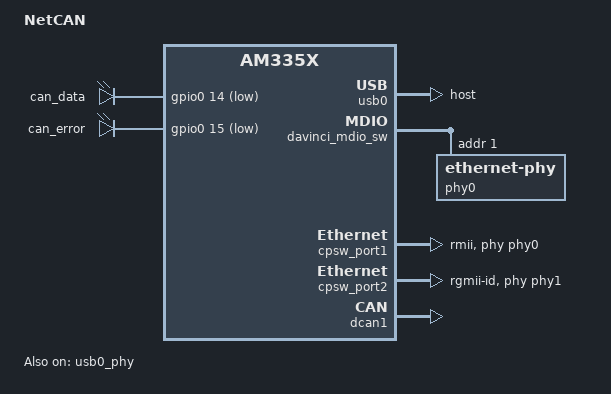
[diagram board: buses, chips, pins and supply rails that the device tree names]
// SPDX-License-Identifier: GPL-2.0-only
/*
 * Copyright (C) 2012 Texas Instruments Incorporated - https://www.ti.com/
 */

/*
 * VScom OnRISC
 * http://www.vscom.de
 */

/dts-v1/;

#include "am335x-baltos.dtsi"
#include "am335x-baltos-leds.dtsi"

/ {
	model = "NetCAN";

	leds {
		pinctrl-names = "default";
		pinctrl-0 = <&user_leds_s0>;

		compatible = "gpio-leds";

		led@1 {
			label = "can_data";
			linux,default-trigger = "netdev";
			gpios = <&gpio0 14 GPIO_ACTIVE_LOW>;
			default-state = "off";
		};
		led@2 {
			label = "can_error";
			gpios = <&gpio0 15 GPIO_ACTIVE_LOW>;
			default-state = "off";
		};
	};
};

&am33xx_pinmux {
	user_leds_s0: user_leds_s0 {
		pinctrl-single,pins = <
			AM33XX_PADCONF(AM335X_PIN_UART1_RXD, PIN_OUTPUT_PULLDOWN, MUX_MODE7)	/* CAN Data LED */
			AM33XX_PADCONF(AM335X_PIN_UART1_TXD, PIN_OUTPUT_PULLDOWN, MUX_MODE7)	/* CAN Error LED */
		>;
	};

	dcan1_pins: pinmux_dcan1_pins {
		pinctrl-single,pins = <
			AM33XX_PADCONF(AM335X_PIN_UART0_CTSN, PIN_OUTPUT, MUX_MODE2)	/* CAN TX */
			AM33XX_PADCONF(AM335X_PIN_UART0_RTSN, PIN_INPUT, MUX_MODE2)	/* CAN RX */
		>;
	};
};

&usb0_phy {
	status = "okay";
};

&usb0 {
	status = "okay";
	dr_mode = "host";
};

&davinci_mdio_sw {
	phy0: ethernet-phy@0 {
		reg = <1>;
	};
};

&cpsw_port1 {
	phy-mode = "rmii";
	ti,dual-emac-pvid = <1>;
	phy-handle = <&phy0>;
};

&cpsw_port2 {
	phy-mode = "rgmii-id";
	ti,dual-emac-pvid = <2>;
	phy-handle = <&phy1>;
};

&dcan1 {
	pinctrl-names = "default";
	pinctrl-0 = <&dcan1_pins>;

	status = "okay";
};

&gpio0 {
	gpio-line-names =
		"MDIO",
		"MDC",
		"NC",
		"NC",
		"I2C1_SDA",
		"I2C1_SCL",
		"NC",
		"NC",
		"NC",
		"NC",
		"NC",
		"NC",
		"NC",
		"NC",
		"can_data",
		"can_error",
		"onrisc:blue:wlan",
		"onrisc:green:app",
		"USB0_DRVVBUS",
		"ETH2_INT",
		"NC",
		"NC",
		"MMC1_DAT0",
		"MMC1_DAT1",
		"NC",
		"NC",
		"MMC1_DAT2",
		"MMC1_DAT3",
		"NC",
		"NC",
		"GPMC_WAIT0",
		"GPMC_WP_N";
};

&gpio1 {
	gpio-line-names =
		"GPMC_AD0",
		"GPMC_AD1",
		"GPMC_AD2",
		"GPMC_AD3",
		"GPMC_AD4",
		"GPMC_AD5",
		"GPMC_AD6",
		"GPMC_AD7",
		"DCAN1_TX",
		"DCAN1_RX",
		"CONSOLE_RX",
		"CONSOLE_TX",
		"NC",
		"NC",
		"NC",
		"NC",
		"RGMII2_TCTL",
		"RGMII2_RCTL",
		"RGMII2_TD3",
		"RGMII2_TD2",
		"RGMII2_TD1",
		"RGMII2_TD0",
		"RGMII2_TCLK",
		"RGMII2_RCLK",
		"RGMII2_RD3",
		"RGMII2_RD2",
		"RGMII2_RD1",
		"RGMII2_RD0",
		"PMIC_INT1",
		"GPMC_CSN0_Flash",
		"MMC1_CLK",
		"MMC1_CMD";
};

&gpio2 {
	gpio-line-names =
		"GPMC_CSN3_BUS",
		"GPMC_CLK",
		"GPMC_ADVN_ALE",
		"GPMC_OEN_RE_N",
		"GPMC_WE_N",
		"GPMC_BEN0_CLE",
		"NC",
		"NC",
		"NC",
		"NC",
		"NC",
		"NC",
		"NC",
		"NC",
		"NC",
		"NC",
		"NC",
		"NC",
		"SW2_0",
		"SW2_1",
		"NC",
		"NC",
		"NC",
		"NC",
		"NC",
		"NC",
		"MMC0_DAT3",
		"MMC0_DAT2",
		"MMC0_DAT1",
		"MMC0_DAT0",
		"MMC0_CLK",
		"MMC0_CMD";
};

&gpio3 {
	gpio-line-names =
		"onrisc:red:power",
		"NC",
		"NC",
		"NC",
		"NC",
		"NC",
		"NC",
		"WLAN_IRQ",
		"WLAN_EN",
		"SW2_2",
		"SW2_3",
		"NC",
		"NC",
		"NC",
		"ModeA0",
		"ModeA1",
		"ModeA2",
		"ModeA3",
		"NC",
		"NC",
		"NC",
		"NC",
		"NC",
		"NC",
		"NC",
		"NC",
		"NC",
		"NC",
		"NC",
		"NC",
		"NC",
		"NC";
};
